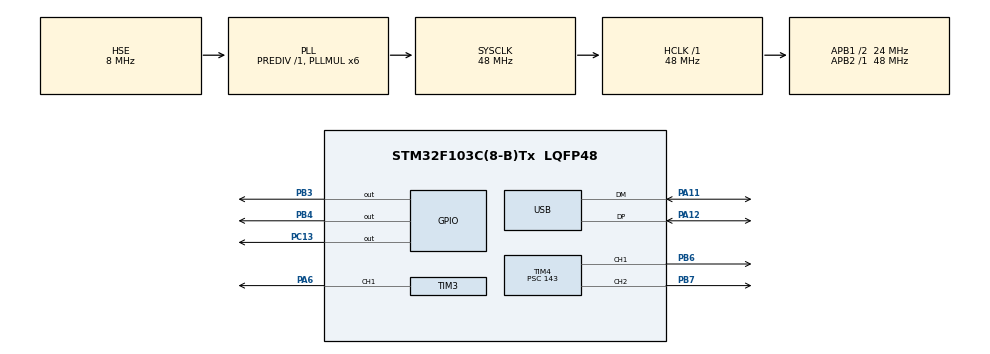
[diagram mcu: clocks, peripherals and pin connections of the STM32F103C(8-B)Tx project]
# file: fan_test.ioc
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Mcu.Family=STM32F1
Mcu.Name=STM32F103C(8-B)Tx
Mcu.Package=LQFP48
NVIC.PriorityGroup=NVIC_PRIORITYGROUP_4
NVIC.USB_LP_CAN1_RX0_IRQn=true\:0\:0\:false\:false\:true\:false\:true\:true
PA11.Mode=Device
PA11.Signal=USB_DM
PA12.Mode=Device
PA12.Signal=USB_DP
PA13.Mode=Serial_Wire
PA13.Signal=SYS_JTMS-SWDIO
PA14.Mode=Serial_Wire
PA14.Signal=SYS_JTCK-SWCLK
PA6.Signal=S_TIM3_CH1
PB3.Signal=GPIO_Output
PB4.Signal=GPIO_Output
PB6.Signal=S_TIM4_CH1
PB7.Signal=S_TIM4_CH2
PC13-TAMPER-RTC.Signal=GPIO_Output
PD0-OSC_IN.Mode=HSE-External-Oscillator
PD0-OSC_IN.Signal=RCC_OSC_IN
PD1-OSC_OUT.Mode=HSE-External-Oscillator
PD1-OSC_OUT.Signal=RCC_OSC_OUT
ProjectManager.HeapSize=0x200
ProjectManager.StackSize=0x400
ProjectManager.TargetToolchain=STM32CubeIDE
RCC.AHBFreq_Value=48000000
RCC.APB1CLKDivider=RCC_HCLK_DIV2
RCC.APB1Freq_Value=24000000
RCC.APB1TimFreq_Value=48000000
RCC.APB2Freq_Value=48000000
RCC.APB2TimFreq_Value=48000000
RCC.HCLKFreq_Value=48000000
RCC.PLLMUL=RCC_PLL_MUL6
RCC.SYSCLKFreq_VALUE=48000000
RCC.SYSCLKSource=RCC_SYSCLKSOURCE_PLLCLK
RCC.USBFreq_Value=48000000
SH.S_TIM3_CH1.0=TIM3_CH1,PWM Generation1 CH1
SH.S_TIM4_CH1.0=TIM4_CH1,PWM Generation1 CH1
SH.S_TIM4_CH2.0=TIM4_CH2,PWM Generation2 CH2
TIM3.AutoReloadPreload=TIM_AUTORELOAD_PRELOAD_ENABLE
TIM3.Channel-PWM\ Generation1\ CH1=TIM_CHANNEL_1
TIM3.Period=999
TIM3.Prescaler=72
TIM4.Channel-PWM\ Generation1\ CH1=TIM_CHANNEL_1
TIM4.Channel-PWM\ Generation2\ CH2=TIM_CHANNEL_2
TIM4.Period=9999
TIM4.Prescaler=143
USB_DEVICE.CLASS_NAME_FS=CDC
USB_DEVICE.VirtualMode=Cdc
USB_DEVICE.VirtualModeFS=Cdc_FS
VP_TIM3_VS_ClockSourceINT.Mode=Internal
VP_TIM4_VS_ClockSourceINT.Mode=Internal
VP_USB_DEVICE_VS_USB_DEVICE_CDC_FS.Mode=CDC_FS
board=custom

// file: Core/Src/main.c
/* USER CODE BEGIN Header */
/**
  ******************************************************************************
  * @file           : main.c
  * @brief          : Main program body
  ******************************************************************************
  * @attention
  *
  * Copyright (c) 2026 STMicroelectronics.
  * All rights reserved.
  *
  * This software is licensed under terms that can be found in the LICENSE file
  * in the root directory of this software component.
  * If no LICENSE file comes with this software, it is provided AS-IS.
  *
  ******************************************************************************
  */
/* USER CODE END Header */
#include "main.h"
#include "tim.h"
#include "usb_device.h"
#include "gpio.h"

/* USER CODE BEGIN Includes */
#include "gesture.h"
/* USER CODE END Includes */

/* USER CODE BEGIN PD */
#define SERVO_LR_CENTER  750   /* 左右舵机中位 CCR，调这个值到物理居中 */
#define SERVO_UD_CENTER  750   /* 上下舵机中位 CCR，调这个值到物理居中 */
/* USER CODE END PD */

/* USER CODE BEGIN PV */
static uint32_t led_tick = 0;

/* ── 舵机摆风状态 ── */
static uint8_t  servo_lr_on = 0;       /* 左右摆风开关 */
static int32_t  servo_lr_ccr = SERVO_LR_CENTER;    /* 当前 CCR (90°居中) */
static int8_t   servo_lr_dir = 1;      /* 1=右扫, -1=左扫 */

static uint8_t  servo_ud_on = 0;       /* 上下摆风开关 */
static int32_t  servo_ud_ccr = SERVO_UD_CENTER;    /* 当前 CCR (90°居中) */
static int8_t   servo_ud_dir = -1;      /* 启动时先向 CCD 减小方向扫 */

static uint32_t servo_tick_lr = 0;
static uint32_t servo_tick_ud = 0;
static uint8_t  system_on = 0;            /* 开机标志，palm置1，fist清0 */
/* USER CODE END PV */

void SystemClock_Config(void);

int main(void)
{

  /* MCU Configuration--------------------------------------------------------*/

  /* Reset of all peripherals, Initializes the Flash interface and the Systick. */
  HAL_Init();

  /* Configure the system clock */
  SystemClock_Config();

  /* Initialize all configured peripherals */
  MX_GPIO_Init();
  MX_TIM3_Init();
  MX_USB_DEVICE_Init();
  MX_TIM4_Init();
  /* USER CODE BEGIN 2 */
  /* ── PB3/PB4 GPIO: L298N IN1/IN2 ── */
  __HAL_RCC_GPIOB_CLK_ENABLE();
  GPIO_InitTypeDef g = {0};
  g.Mode = GPIO_MODE_OUTPUT_PP;
  g.Pull = GPIO_NOPULL;
  g.Speed = GPIO_SPEED_FREQ_LOW;
  g.Pin = GPIO_PIN_3 | GPIO_PIN_4;
  HAL_GPIO_Init(GPIOB, &g);
  HAL_GPIO_WritePin(GPIOB, GPIO_PIN_3, GPIO_PIN_SET);   /* IN1=H, 正转 */
  HAL_GPIO_WritePin(GPIOB, GPIO_PIN_4, GPIO_PIN_RESET); /* IN2=L */

  /* ── 启动 TIM3 PWM (PA6 → L298N ENA) ── */
  HAL_TIM_PWM_Start(&htim3, TIM_CHANNEL_1);

  /* ── 启动 TIM4 PWM (PB6 CH1 左右 + PB7 CH2 上下) ── */
  HAL_TIM_PWM_Start(&htim4, TIM_CHANNEL_1);
  HAL_TIM_PWM_Start(&htim4, TIM_CHANNEL_2);
  __HAL_TIM_SET_COMPARE(&htim4, TIM_CHANNEL_1, SERVO_LR_CENTER);
  __HAL_TIM_SET_COMPARE(&htim4, TIM_CHANNEL_2, SERVO_UD_CENTER);
  /* USER CODE END 2 */

  /* Infinite loop */
  while (1)
  {

    /* USER CODE BEGIN 3 */
    /* ── 左右舵机扫描（预判式折返，无边界停顿）── */
    if (servo_lr_on && (HAL_GetTick() - servo_tick_lr >= 10)) {
        servo_tick_lr = HAL_GetTick();
        int32_t next = (int32_t)servo_lr_ccr + servo_lr_dir * 2;
        if (next > 700) {
            servo_lr_ccr = 698;      // 强制弹离上边界
            servo_lr_dir = -1;
        } else if (next < 200) {
            servo_lr_ccr = 204;       // 强制弹离下边界
            servo_lr_dir = 1;
        } else {
            servo_lr_ccr = (uint16_t)next;
        }
        __HAL_TIM_SET_COMPARE(&htim4, TIM_CHANNEL_1, servo_lr_ccr);
    }

    /* ── 上下舵机扫描 ── */
    if (servo_ud_on && (HAL_GetTick() - servo_tick_ud >= 10)) {
        servo_tick_ud = HAL_GetTick();
        servo_ud_ccr += servo_ud_dir * 2;
        if (servo_ud_ccr > 800)  { servo_ud_ccr = 1600 - servo_ud_ccr; servo_ud_dir = -1; }
        if (servo_ud_ccr < 350)  { servo_ud_ccr = 700  - servo_ud_ccr; servo_ud_dir = 1;  }
        __HAL_TIM_SET_COMPARE(&htim4, TIM_CHANNEL_2, servo_ud_ccr);
    }

    /* ── 手势控制 ── */
    if (g_gesture_ready) {
        g_gesture_ready = 0;
        int32_t gid = g_gesture.class_id;

        /* 电源指令总是有效，其他需先开机 */
        if (gid != 20 && gid != 24 && gid != 14 && !system_on)
            goto gesture_done;

        switch (gid) {
            /* ── 电源 ── */
            case 20: case 24:   /* palm/stop → 开机 */
                system_on = 1;
                __HAL_TIM_SET_COMPARE(&htim3, TIM_CHANNEL_1, 300);
                servo_lr_ccr = 420;
                __HAL_TIM_SET_COMPARE(&htim4, TIM_CHANNEL_1, 420);
                break;
            case 14:            /* fist → 全关 */
                system_on = 0;
                __HAL_TIM_SET_COMPARE(&htim3, TIM_CHANNEL_1, 0);
                servo_lr_on = 0; servo_lr_ccr = SERVO_LR_CENTER;
                servo_ud_on = 0; servo_ud_ccr = SERVO_UD_CENTER;
                __HAL_TIM_SET_COMPARE(&htim4, TIM_CHANNEL_1, SERVO_LR_CENTER);
                __HAL_TIM_SET_COMPARE(&htim4, TIM_CHANNEL_2, SERVO_UD_CENTER);
                break;

            /* ── 风扇（需开机）── */
            case 19: __HAL_TIM_SET_COMPARE(&htim3, TIM_CHANNEL_1, 300); break;
            case 21: case 22: case 28: case 29:
                __HAL_TIM_SET_COMPARE(&htim3, TIM_CHANNEL_1, 500); break;
            case 26: case 27: case 5:  case 30:
                __HAL_TIM_SET_COMPARE(&htim3, TIM_CHANNEL_1, 700); break;
            case 15: __HAL_TIM_SET_COMPARE(&htim3, TIM_CHANNEL_1, 900); break;

            /* ── 左右摆风（需开机）── */
            case 18:  /* ok → 开始扫风 */
                servo_lr_dir = 1;    /* 从420向右(800)扫，不碰左边界 */
                servo_lr_on = 1;  break;
            case 6:   /* timeout → 停扫，留在就位 */
                servo_lr_on = 0;
                servo_lr_ccr = 420;
                __HAL_TIM_SET_COMPARE(&htim4, TIM_CHANNEL_1, 420);
                break;

            /* ── 上下摆风（需开机）── */
            case 16: servo_ud_on = 1; break;
            case 13:
                servo_ud_on = 0;
                servo_ud_ccr = SERVO_UD_CENTER;
                __HAL_TIM_SET_COMPARE(&htim4, TIM_CHANNEL_2, SERVO_UD_CENTER);
                break;
        }
        gesture_done:;

        HAL_GPIO_WritePin(GPIOC, GPIO_PIN_13, GPIO_PIN_RESET);
        led_tick = HAL_GetTick();
    }
    if (HAL_GetTick() - led_tick > 100) {
        HAL_GPIO_WritePin(GPIOC, GPIO_PIN_13, GPIO_PIN_SET);
    }
  }
  /* USER CODE END 3 */
}

void SystemClock_Config(void)
{
  RCC_OscInitTypeDef RCC_OscInitStruct = {0};
  RCC_ClkInitTypeDef RCC_ClkInitStruct = {0};
  RCC_PeriphCLKInitTypeDef PeriphClkInit = {0};

  /** Initializes the RCC Oscillators according to the specified parameters
  * in the RCC_OscInitTypeDef structure.
  */
  RCC_OscInitStruct.OscillatorType = RCC_OSCILLATORTYPE_HSE;
  RCC_OscInitStruct.HSEState = RCC_HSE_ON;
  RCC_OscInitStruct.HSEPredivValue = RCC_HSE_PREDIV_DIV1;
  RCC_OscInitStruct.HSIState = RCC_HSI_ON;
  RCC_OscInitStruct.PLL.PLLState = RCC_PLL_ON;
  RCC_OscInitStruct.PLL.PLLSource = RCC_PLLSOURCE_HSE;
  RCC_OscInitStruct.PLL.PLLMUL = RCC_PLL_MUL6;
  if (HAL_RCC_OscConfig(&RCC_OscInitStruct) != HAL_OK)
  {
    Error_Handler();
  }

  /** Initializes the CPU, AHB and APB buses clocks
  */
  RCC_ClkInitStruct.ClockType = RCC_CLOCKTYPE_HCLK|RCC_CLOCKTYPE_SYSCLK
                              |RCC_CLOCKTYPE_PCLK1|RCC_CLOCKTYPE_PCLK2;
  RCC_ClkInitStruct.SYSCLKSource = RCC_SYSCLKSOURCE_PLLCLK;
  RCC_ClkInitStruct.AHBCLKDivider = RCC_SYSCLK_DIV1;
  RCC_ClkInitStruct.APB1CLKDivider = RCC_HCLK_DIV2;
  RCC_ClkInitStruct.APB2CLKDivider = RCC_HCLK_DIV1;

  if (HAL_RCC_ClockConfig(&RCC_ClkInitStruct, FLASH_LATENCY_1) != HAL_OK)
  {
    Error_Handler();
  }
  PeriphClkInit.PeriphClockSelection = RCC_PERIPHCLK_USB;
  PeriphClkInit.UsbClockSelection = RCC_USBCLKSOURCE_PLL;
  if (HAL_RCCEx_PeriphCLKConfig(&PeriphClkInit) != HAL_OK)
  {
    Error_Handler();
  }
}

void Error_Handler(void)
{
  __disable_irq();
  while (1)
  {
  }
}
